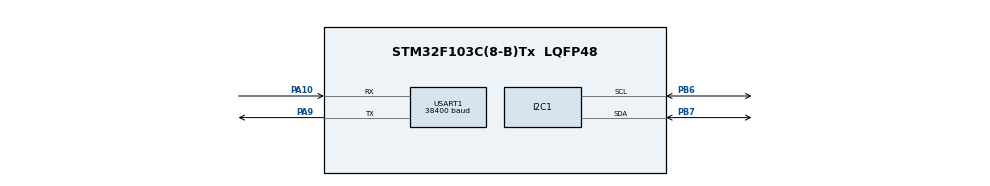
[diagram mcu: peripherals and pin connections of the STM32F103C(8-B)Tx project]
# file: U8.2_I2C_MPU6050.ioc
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Mcu.Family=STM32F1
Mcu.Name=STM32F103C(8-B)Tx
Mcu.Package=LQFP48
NVIC.PriorityGroup=NVIC_PRIORITYGROUP_4
PA10.Mode=Asynchronous
PA10.Signal=USART1_RX
PA13.Mode=Serial_Wire
PA13.Signal=SYS_JTMS-SWDIO
PA14.Mode=Serial_Wire
PA14.Signal=SYS_JTCK-SWCLK
PA9.Mode=Asynchronous
PA9.Signal=USART1_TX
PB6.Mode=I2C
PB6.Signal=I2C1_SCL
PB7.Mode=I2C
PB7.Signal=I2C1_SDA
ProjectManager.HeapSize=0x200
ProjectManager.StackSize=0x400
ProjectManager.TargetToolchain=STM32CubeIDE
RCC.APB1Freq_Value=8000000
RCC.APB2Freq_Value=8000000
USART1.BaudRate=38400
USART1.VirtualMode=VM_ASYNC
board=custom

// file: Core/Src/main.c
/* USER CODE BEGIN Header */
/**
  ******************************************************************************
  * @file           : main.c
  * @brief          : Main program body
  ******************************************************************************
  * @attention
  *
  * Copyright (c) 2022 STMicroelectronics.
  * All rights reserved.
  *
  * This software is licensed under terms that can be found in the LICENSE file
  * in the root directory of this software component.
  * If no LICENSE file comes with this software, it is provided AS-IS.
  *
  ******************************************************************************
  */
/* USER CODE END Header */
#include "main.h"

/* USER CODE BEGIN Includes */

#include <math.h>

/* USER CODE END Includes */

I2C_HandleTypeDef hi2c1;

UART_HandleTypeDef huart1;

void SystemClock_Config(void);
static void MX_GPIO_Init(void);
static void MX_I2C1_Init(void);
static void MX_USART1_UART_Init(void);

/* USER CODE BEGIN 0 */

#define TIME_WAIT_TO_STOP	150
#define	MPU_ADDRESS			0xD0
#define WHO_AM_I_RES		0x75
#define PWR_MGMT_1_RES		0x6B
#define SMPLRT_DIV_RES		0x19
#define GYRO_CONFIG_RES		0x1B
#define ACCEL_CONFIG_RES	0x1C
#define ACCEL_XOUT_H		0x3B
#define	GYRO_XOUT_H			0x43
#define PI					3.14159265359

typedef enum{
	MODE_NORMAL = '0',
	MODE_SPECIAL = '1',
} Move_Mode;
Move_Mode move_mode = MODE_SPECIAL;

typedef enum{
	STOP = 'S',
	MOVE_FORWARD = 'F',
	MOVE_BACKWARD = 'B',
	MOVE_RIGHT = 'R',
	MOVE_LEFT = 'L',
	MOVE_RIGHT_FORWARD = 'X',
	MOVE_RIGHT_BACKWARD = 'Y',
	MOVE_LEFT_FORWARD = 'Z',
	MOVE_LEFT_BACKWARD = 'T',
} Move_State;
Move_State move_state = STOP;
Move_State last_state = STOP;

uint32_t wait_stop_timer;

float map(int32_t n, int32_t min1, int32_t max1, int32_t min2, int32_t max2){
	return (float)((n - min1) * (max2 - min2)) / (max1 - min1) + min2;
}

void HC05_Handle(){
	uint8_t signal[2] = {(uint8_t) move_state, (uint8_t) move_mode};
	HAL_UART_Transmit(&huart1, signal, 2, 200);
}

void MPU_Init(){
	uint8_t Data = 0;

	while(Data != 0x68){
		HAL_I2C_Mem_Read(&hi2c1, MPU_ADDRESS, WHO_AM_I_RES, 1, &Data, 1, 1000);
	}

	Data = 0;
	HAL_I2C_Mem_Write(&hi2c1, MPU_ADDRESS, PWR_MGMT_1_RES, 1, &Data, 1, 1000);

//	Data = 0x07;
//	HAL_I2C_Mem_Write(&hi2c1, MPU_ADDRESS, SMPLRT_DIV_RES, 1, &Data, 1, 1000);

	Data = 0;
	HAL_I2C_Mem_Write(&hi2c1, MPU_ADDRESS, GYRO_CONFIG_RES, 1, &Data, 1, 1000);

	Data = 0;
	HAL_I2C_Mem_Write(&hi2c1, MPU_ADDRESS, ACCEL_CONFIG_RES, 1, &Data, 1, 1000);
}

void MPU_Calibration(){
	uint8_t I2C_GYRO_Buffer[6] = {};
	uint8_t I2C_ACCEL_Buffer[6] = {};
	double Acc_Error[3] = {};
	double Gyro_Error[3] = {};

	uint8_t c = 0;

	while(c < 200){
		HAL_I2C_Mem_Read(&hi2c1, MPU_ADDRESS, GYRO_XOUT_H, 1, I2C_GYRO_Buffer, 6, 1000);
		HAL_I2C_Mem_Read(&hi2c1, MPU_ADDRESS, ACCEL_XOUT_H, 1, I2C_ACCEL_Buffer, 6, 1000);

		Acc_Error[0] += (int16_t)(I2C_ACCEL_Buffer[0] << 8 | I2C_ACCEL_Buffer[1]) / 16384.0;
		Acc_Error[1] += (int16_t)(I2C_ACCEL_Buffer[2] << 8 | I2C_ACCEL_Buffer[3]) / 16384.0;
		Acc_Error[2] += (int16_t)(I2C_ACCEL_Buffer[4] << 8 | I2C_ACCEL_Buffer[5]) / 16384.0;

		Gyro_Error[0] += (int16_t)(I2C_GYRO_Buffer[0] << 8 | I2C_GYRO_Buffer[1]) / 131.0;
		Gyro_Error[1] += (int16_t)(I2C_GYRO_Buffer[2] << 8 | I2C_GYRO_Buffer[3]) / 131.0;
		Gyro_Error[2] += (int16_t)(I2C_GYRO_Buffer[4] << 8 | I2C_GYRO_Buffer[5]) / 131.0;

		c++;
	}

	Acc_Error[0] /= 200;
	Acc_Error[1] /= 200;
	Acc_Error[2] /= 200;

	Gyro_Error[0] /= 200;
	Gyro_Error[1] /= 200;
	Gyro_Error[2] /= 200;

	char b[60] = {};
	sprintf(b, "%3.2f %3.2f %3.2f %3.2f %3.2f %3.2f\n", Acc_Error[0], Acc_Error[1], Acc_Error[2], Gyro_Error[0], Gyro_Error[1], Gyro_Error[2]);
	HAL_UART_Transmit(&huart1, b, 60, 200);
}

void MPU_Handle(){
	const float Acc_Error[3] = {0.04, -0.01, 0.96};
	const float Gyro_Error[3] = {-3.44, 1.10, 0.35};
	double Acc[3];
	double Gyro[3];
	double MPU_Angle[3];
	uint32_t delta_time = 0;
	static uint32_t time_get_value = 0;
	static double GYRO_Angle[3] = {};
	double ACCEL_Angle[2] = {};
	uint8_t I2C_GYRO_Buffer[6] = {};
	uint8_t I2C_ACCEL_Buffer[6] = {};

	HAL_I2C_Mem_Read(&hi2c1, MPU_ADDRESS, GYRO_XOUT_H, 1, I2C_GYRO_Buffer, 6, 1000);
	HAL_I2C_Mem_Read(&hi2c1, MPU_ADDRESS, ACCEL_XOUT_H, 1, I2C_ACCEL_Buffer, 6, 1000);
	delta_time = HAL_GetTick() - time_get_value;
	time_get_value = HAL_GetTick();

	Acc[0] = (int16_t)(I2C_ACCEL_Buffer[0] << 8 | I2C_ACCEL_Buffer[1]) / 16384.0 - Acc_Error[0];
	Acc[1] = (int16_t)(I2C_ACCEL_Buffer[2] << 8 | I2C_ACCEL_Buffer[3]) / 16384.0 - Acc_Error[1];
	Acc[2] = (int16_t)(I2C_ACCEL_Buffer[4] << 8 | I2C_ACCEL_Buffer[5]) / 16384.0 - Acc_Error[2];

	Gyro[0] = (int16_t)(I2C_GYRO_Buffer[0] << 8 | I2C_GYRO_Buffer[1]) / 131.0 - Gyro_Error[0];
	Gyro[1] = (int16_t)(I2C_GYRO_Buffer[2] << 8 | I2C_GYRO_Buffer[3]) / 131.0 - Gyro_Error[1];
	Gyro[2] = (int16_t)(I2C_GYRO_Buffer[4] << 8 | I2C_GYRO_Buffer[5]) / 131.0 - Gyro_Error[2];

	ACCEL_Angle[0] = atan2(Acc[1], sqrt(pow(Acc[0], 2) + pow(Acc[2], 2))) * 180 / PI;
	ACCEL_Angle[1] = atan2(Acc[0], sqrt(pow(Acc[1], 2) + pow(Acc[2], 2))) * 180 / PI;

	GYRO_Angle[0] = GYRO_Angle[0] + delta_time / 1000.0 * Gyro[0];
	GYRO_Angle[1] = GYRO_Angle[1] + delta_time / 1000.0 * Gyro[1];
	GYRO_Angle[2] = GYRO_Angle[2] + delta_time / 1000.0 * Gyro[2];

	MPU_Angle[0] = 0.98 * GYRO_Angle[0] + 0.02 * ACCEL_Angle[0];
	MPU_Angle[1] = 0.98 * GYRO_Angle[1] + 0.02 * ACCEL_Angle[1];
	MPU_Angle[2] = 0.98 * GYRO_Angle[2] + 0.02 * ACCEL_Angle[2];

	char b[30] = {};
	sprintf(b, "%3.2f %3.2f %3.2f\n", MPU_Angle[0], MPU_Angle[1], MPU_Angle[2]);
	HAL_UART_Transmit(&huart1, b, 30, 200);

}

/* USER CODE END 0 */

int main(void)
{

  /* MCU Configuration--------------------------------------------------------*/

  /* Reset of all peripherals, Initializes the Flash interface and the Systick. */
  HAL_Init();

  /* Configure the system clock */
  SystemClock_Config();

  /* Initialize all configured peripherals */
  MX_GPIO_Init();
  MX_I2C1_Init();
  MX_USART1_UART_Init();
  /* USER CODE BEGIN 2 */

  MPU_Init();
//  MPU_Calibration();

  /* USER CODE END 2 */

  /* Infinite loop */
  while (1)
  {

    /* USER CODE BEGIN 3 */
	  MPU_Handle();
	  HAL_Delay(50);
  }
  /* USER CODE END 3 */
}

void SystemClock_Config(void)
{
  RCC_OscInitTypeDef RCC_OscInitStruct = {0};
  RCC_ClkInitTypeDef RCC_ClkInitStruct = {0};

  /** Initializes the RCC Oscillators according to the specified parameters
  * in the RCC_OscInitTypeDef structure.
  */
  RCC_OscInitStruct.OscillatorType = RCC_OSCILLATORTYPE_HSI;
  RCC_OscInitStruct.HSIState = RCC_HSI_ON;
  RCC_OscInitStruct.HSICalibrationValue = RCC_HSICALIBRATION_DEFAULT;
  RCC_OscInitStruct.PLL.PLLState = RCC_PLL_NONE;
  if (HAL_RCC_OscConfig(&RCC_OscInitStruct) != HAL_OK)
  {
    Error_Handler();
  }
  /** Initializes the CPU, AHB and APB buses clocks
  */
  RCC_ClkInitStruct.ClockType = RCC_CLOCKTYPE_HCLK|RCC_CLOCKTYPE_SYSCLK
                              |RCC_CLOCKTYPE_PCLK1|RCC_CLOCKTYPE_PCLK2;
  RCC_ClkInitStruct.SYSCLKSource = RCC_SYSCLKSOURCE_HSI;
  RCC_ClkInitStruct.AHBCLKDivider = RCC_SYSCLK_DIV1;
  RCC_ClkInitStruct.APB1CLKDivider = RCC_HCLK_DIV1;
  RCC_ClkInitStruct.APB2CLKDivider = RCC_HCLK_DIV1;

  if (HAL_RCC_ClockConfig(&RCC_ClkInitStruct, FLASH_LATENCY_0) != HAL_OK)
  {
    Error_Handler();
  }
}

static void MX_I2C1_Init(void)
{

  hi2c1.Instance = I2C1;
  hi2c1.Init.ClockSpeed = 100000;
  hi2c1.Init.DutyCycle = I2C_DUTYCYCLE_2;
  hi2c1.Init.OwnAddress1 = 0;
  hi2c1.Init.AddressingMode = I2C_ADDRESSINGMODE_7BIT;
  hi2c1.Init.DualAddressMode = I2C_DUALADDRESS_DISABLE;
  hi2c1.Init.OwnAddress2 = 0;
  hi2c1.Init.GeneralCallMode = I2C_GENERALCALL_DISABLE;
  hi2c1.Init.NoStretchMode = I2C_NOSTRETCH_DISABLE;
  if (HAL_I2C_Init(&hi2c1) != HAL_OK)
  {
    Error_Handler();
  }

}

static void MX_USART1_UART_Init(void)
{

  huart1.Instance = USART1;
  huart1.Init.BaudRate = 38400;
  huart1.Init.WordLength = UART_WORDLENGTH_8B;
  huart1.Init.StopBits = UART_STOPBITS_1;
  huart1.Init.Parity = UART_PARITY_NONE;
  huart1.Init.Mode = UART_MODE_TX_RX;
  huart1.Init.HwFlowCtl = UART_HWCONTROL_NONE;
  huart1.Init.OverSampling = UART_OVERSAMPLING_16;
  if (HAL_UART_Init(&huart1) != HAL_OK)
  {
    Error_Handler();
  }

}

static void MX_GPIO_Init(void)
{

  /* GPIO Ports Clock Enable */
  __HAL_RCC_GPIOA_CLK_ENABLE();
  __HAL_RCC_GPIOB_CLK_ENABLE();

}

void Error_Handler(void)
{
  __disable_irq();
  while (1)
  {
  }
}
